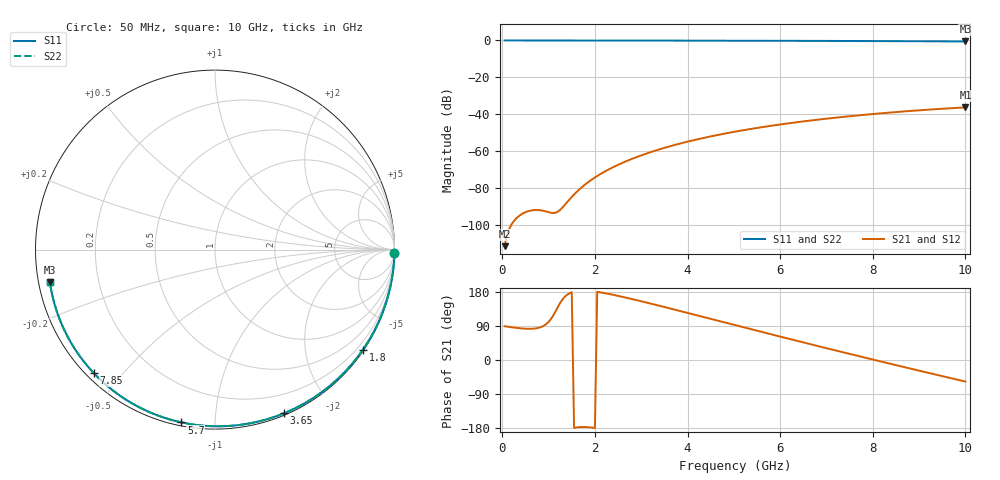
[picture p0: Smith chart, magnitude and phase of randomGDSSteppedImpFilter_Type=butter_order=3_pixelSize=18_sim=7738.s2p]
! freq	dB(S11)	phase(S11)	dB(S12)	phase(S12)
!  dB(S21)	phase(S21)	dB(S22)	phase(S22)
!S-par simulation data
#  GHz  S  DB  R 50
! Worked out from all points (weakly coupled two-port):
!   200 points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, 50 MHz to 10 GHz, reference 50 ohm
!   highest |S21| = -36.30 dB at 10 GHz (marker M1); lowest = -111.6 dB at 50 MHz (marker M2)
!   lowest |S11| = -0.6 dB at 10 GHz (marker M3), VSWR 31.10, Z = 1.62 - j4.93 ohm
!   |S11| at or under -10 dB: nowhere
!   |S22| runs from -0.6 to 0.0 dB; largest |S21 - S12| = 0
!   S11 on the Smith chart (normalised r, x): 50 MHz: open; 1.8 GHz: 0.03, -3.27; 3.65 GHz: 0.02, -1.51; 5.7 GHz: 0.02, -0.82; 7.85 GHz: 0.02, -0.42; 10 GHz: 0.03, -0.10
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0.05  -0.00 -1.0  -111.57 89.1  -111.57 89.1  -0.00 -1.0
0.45  -0.01 -8.6  -93.74 83.0  -93.74 83.0  -0.01 -8.6
0.85  -0.02 -16.3  -92.19 87.6  -92.19 87.6  -0.02 -16.3
1.65  -0.04 -31.2  -81.08 -177.2  -81.08 -177.2  -0.04 -31.2
1.7  -0.04 -32.2  -79.96 -176.9  -79.96 -176.9  -0.04 -32.2
1.75  -0.04 -33.1  -78.91 -176.8  -78.91 -176.8  -0.04 -33.1
1.8  -0.04 -34.0  -77.90 -177.0  -77.90 -177.0  -0.04 -34.0
2.1  -0.05 -39.5  -72.74 178.8  -72.74 178.8  -0.05 -39.5
2.3  -0.05 -43.2  -69.92 174.4  -69.92 174.4  -0.05 -43.2
2.5  -0.06 -46.8  -67.44 169.3  -67.44 169.3  -0.06 -46.8
2.9  -0.07 -54.0  -63.25 158.0  -63.25 158.0  -0.07 -54.0
3.4  -0.08 -62.8  -59.00 142.9  -59.00 142.9  -0.08 -62.8
3.65  -0.09 -67.1  -57.18 135.2  -57.18 135.2  -0.09 -67.1
4.3  -0.11 -78.1  -53.12 114.9  -53.12 114.9  -0.11 -78.1
5.05  -0.14 -90.5  -49.36 91.3  -49.36 91.3  -0.14 -90.5
5.7  -0.17 -101.0  -46.67 71.0  -46.67 71.0  -0.17 -101.0
6.7  -0.23 -116.7  -43.29 40.3  -43.29 40.3  -0.23 -116.7
7.25  -0.27 -125.2  -41.74 23.6  -41.74 23.6  -0.27 -125.2
7.85  -0.32 -134.5  -40.24 5.7  -40.24 5.7  -0.32 -134.5
8.35  -0.36 -142.3  -39.14 -9.1  -39.14 -9.1  -0.36 -142.3
9.2  -0.46 -155.7  -37.53 -34.0  -37.53 -34.0  -0.46 -155.7
10  -0.56 -168.7  -36.30 -56.9  -36.30 -56.9  -0.56 -168.7
